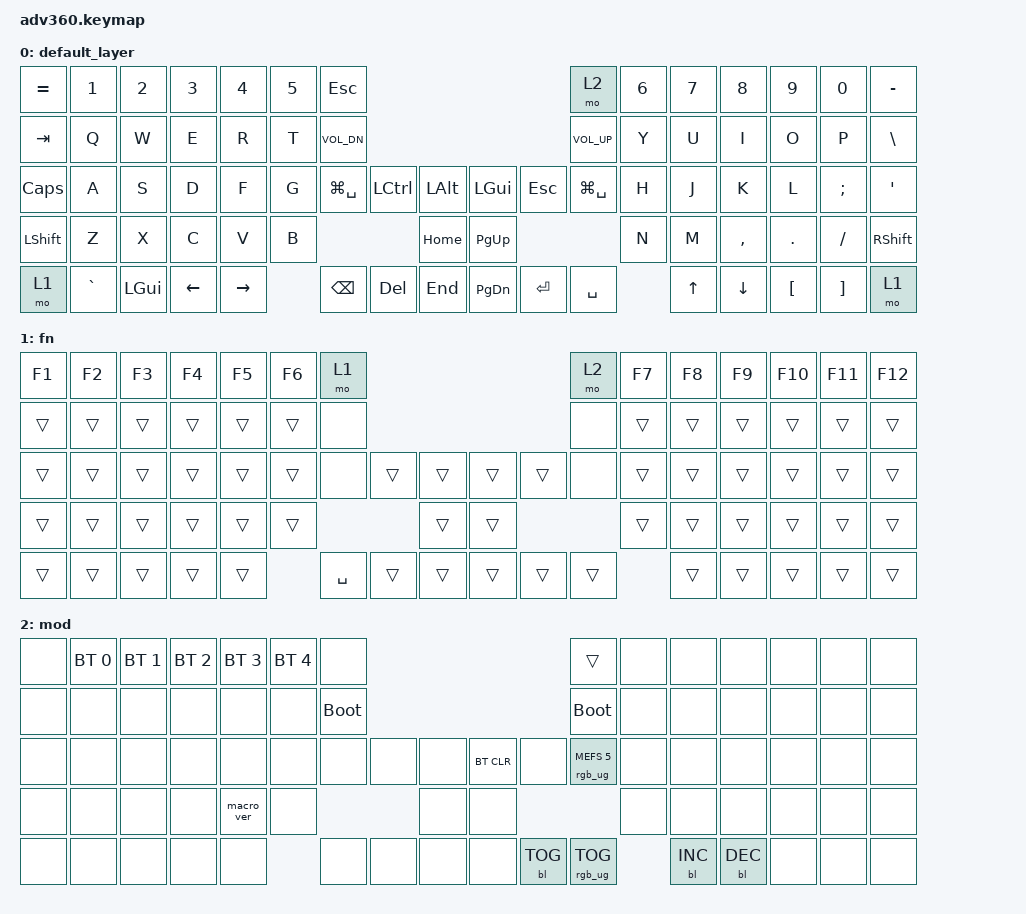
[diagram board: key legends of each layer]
#include <behaviors.dtsi>
#include <dt-bindings/zmk/backlight.h>
#include <dt-bindings/zmk/bt.h>
#include <dt-bindings/zmk/keys.h>
#include <dt-bindings/zmk/rgb.h>

/ {
    behaviors {
        #include "macros.dtsi"
      #include "version.dtsi"
      #ifndef VERSION_MACRO

        macro_ver: macro_ver {
            compatible = "zmk,behavior-macro";
            label = "macro_version";
            #binding-cells = <0>;
            bindings = <&kp RET>;
        };

        #endif

        hm: homerow_mods {
            compatible = "zmk,behavior-hold-tap";
            label = "HOMEROW_MODS";
            #binding-cells = <2>;
            tapping-term-ms = <200>;
            quick_tap_ms = <175>;
            flavor = "tap-preferred";
            bindings = <&kp>, <&kp>;
        };
    };

    macros {
    };

    combos {
        compatible = "zmk,combos";

        raycast {
            bindings = <&kp LG(SPACE)>;
            key-positions = <34 39>;
        };
    };

    keymap {
        compatible = "zmk,keymap";

        default_layer {
            bindings = <
&kp EQUAL  &kp N1     &kp N2        &kp N3    &kp N4     &kp N5  &kp ESCAPE                                                     &mo 2            &kp N6  &kp N7  &kp N8     &kp N9    &kp N0    &kp MINUS
&kp TAB    &kp Q      &kp W         &kp E     &kp R      &kp T   &kp C_VOL_DN                                                   &kp C_VOLUME_UP  &kp Y   &kp U   &kp I      &kp O     &kp P     &kp BSLH
&kp CAPS   &kp A      &kp S         &kp D     &kp F      &kp G   &kp LG(SPACE)  &kp LCTRL  &kp LALT      &kp LGUI   &kp ESCAPE  &kp LG(SPACE)    &kp H   &kp J   &kp K      &kp L     &kp SEMI  &kp SQT
&kp LSHFT  &kp Z      &kp X         &kp C     &kp V      &kp B                             &kp HOME      &kp PG_UP                               &kp N   &kp M   &kp COMMA  &kp DOT   &kp FSLH  &kp RSHFT
&mo 1      &kp GRAVE  &kp LEFT_GUI  &kp LEFT  &kp RIGHT          &kp BSPC       &kp DEL    &kp END       &kp PG_DN  &kp ENTER   &kp SPACE                &kp UP  &kp DOWN   &kp LBKT  &kp RBKT  &mo 1
            >;
        };

        fn {
            bindings = <
&kp F1  &kp F2  &kp F3  &kp F4  &kp F5  &kp F6  &mo 1                                          &mo 2   &kp F7  &kp F8  &kp F9  &kp F10  &kp F11  &kp F12
&trans  &trans  &trans  &trans  &trans  &trans  &none                                          &none   &trans  &trans  &trans  &trans   &trans   &trans
&trans  &trans  &trans  &trans  &trans  &trans  &none      &trans  &trans      &trans  &trans  &none   &trans  &trans  &trans  &trans   &trans   &trans
&trans  &trans  &trans  &trans  &trans  &trans                     &trans      &trans                  &trans  &trans  &trans  &trans   &trans   &trans
&trans  &trans  &trans  &trans  &trans          &kp SPACE  &trans  &trans      &trans  &trans  &trans          &trans  &trans  &trans   &trans   &trans
            >;
        };

        mod {
            bindings = <
&none  &bt BT_SEL 0  &bt BT_SEL 1  &bt BT_SEL 2  &bt BT_SEL 3  &bt BT_SEL 4  &none                                                  &trans                  &none  &none       &none       &none  &none  &none
&none  &none         &none         &none         &none         &none         &bootloader                                            &bootloader             &none  &none       &none       &none  &none  &none
&none  &none         &none         &none         &none         &none         &none        &none  &none      &bt BT_CLR  &none       &rgb_ug RGB_MEFS_CMD 5  &none  &none       &none       &none  &none  &none
&none  &none         &none         &none         &macro_ver    &none                             &none      &none                                           &none  &none       &none       &none  &none  &none
&none  &none         &none         &none         &none                       &none        &none  &none      &none       &bl BL_TOG  &rgb_ug RGB_TOG                &bl BL_INC  &bl BL_DEC  &none  &none  &none
            >;
        };
    };
};
